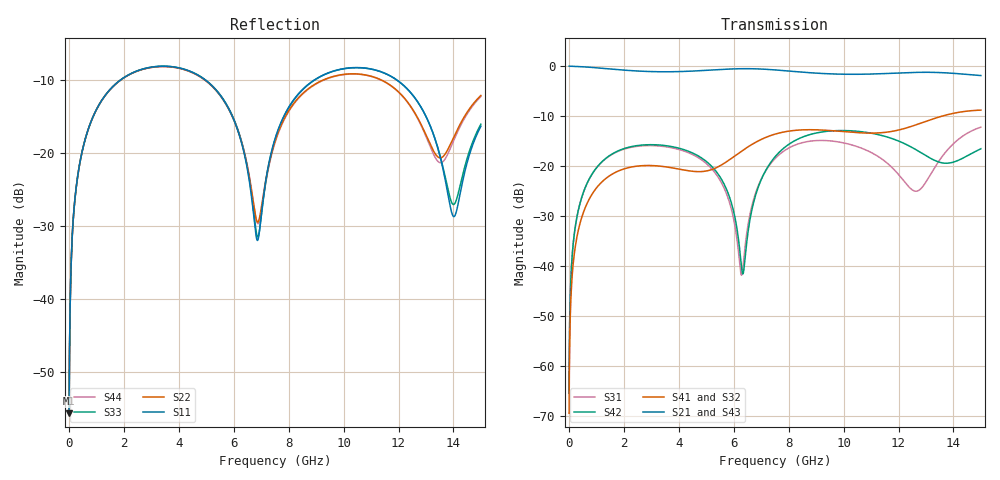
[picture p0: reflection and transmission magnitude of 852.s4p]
! Created with skrf 1.8.0 (http://scikit-rf.org).
# GHz S RI R 50.0
!freq ReS11 ImS11 ReS12 ImS12 ReS13 ImS13
! ReS14 ImS14
! ReS21 ImS21 ReS22 ImS22 ReS23 ImS23
! ReS24 ImS24
! ReS31 ImS31 ReS32 ImS32 ReS33 ImS33
! ReS34 ImS34
! ReS41 ImS41 ReS42 ImS42 ReS43 ImS43
! ReS44 ImS44
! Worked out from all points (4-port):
!   2499 points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, 5 MHz to 15 GHz, reference 50 ohm
!   strongest paths, dB at 5 MHz, 3.476 GHz, 7.19 GHz, 11.1 GHz, 15 GHz:
!     S21: 0.0, -1.1, -0.6, -1.6, -1.9
!     S43: 0.0, -1.1, -0.6, -1.6, -1.9
!     S41: -69.4, -20.1, -14.2, -13.4, -8.8
!     S32: -69.4, -20.1, -14.2, -13.4, -8.8
!     S42: -65.3, -15.9, -20.6, -13.5, -16.5
!     S31: -65.3, -16.1, -20.7, -17.5, -12.2
!   lowest |S11| = -55.7 dB at 5 MHz (marker M1), VSWR 1.00, Z = 50.1 + j0.0993 ohm
!   |S11| at or under -10 dB: start of sweep to 1.883 GHz; 4.956 GHz to 8.941 GHz (3.985 GHz wide, 57.4 % of centre); 11.93 GHz to end of sweep
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0.005  0.00131 0.00099  0.9987 -0.00255  6.53e-05 0.000538  -6.34e-05 -0.000333
       0.9987 -0.00255  0.00131 0.00099  -6.34e-05 -0.000333  6.54e-05 0.000538
       6.53e-05 0.000538  -6.34e-05 -0.000333  0.00131 0.00099  0.9987 -0.00255
       -6.34e-05 -0.000333  6.54e-05 0.000538  0.9987 -0.00255  0.00131 0.00099
0.4126719  0.0251 0.0851  0.9654 -0.2078  0.0121 0.0419  -0.0102 -0.0256
           0.9654 -0.2078  0.025 0.0851  -0.0102 -0.0256  0.0125 0.0418
           0.0121 0.0419  -0.0102 -0.0256  0.0251 0.0851  0.9654 -0.2078
           -0.0102 -0.0256  0.0125 0.0418  0.9654 -0.2078  0.025 0.0851
1.925802  0.2658 0.179  0.5583 -0.7253  0.1284 0.0689  -0.0921 -0.0075
          0.5583 -0.7253  0.264 0.1802  -0.0921 -0.00749  0.1336 0.062
          0.1284 0.0689  -0.0921 -0.00749  0.2659 0.179  0.5582 -0.7253
          -0.0921 -0.0075  0.1336 0.062  0.5582 -0.7253  0.2641 0.1802
6.277616  0.0524 -0.1061  -0.882 -0.331  -0.00774 -0.00258  -0.0452 0.1334
          -0.882 -0.331  0.0608 -0.1026  -0.045 0.1335  -0.00815 -0.00608
          -0.00774 -0.00258  -0.045 0.1335  0.0541 -0.1077  -0.8816 -0.3312
          -0.0452 0.1334  -0.00815 -0.00608  -0.8816 -0.3312  0.0607 -0.1048
6.846603  0.0249 -0.0045  -0.9355 -0.0744  -0.00385 0.0589  -0.00956 0.1759
          -0.9355 -0.0744  0.0333 -0.00603  -0.0093 0.1759  0.00923 0.056
          -0.00385 0.0589  -0.0093 0.1759  0.0262 -0.00672  -0.9355 -0.0747
          -0.00956 0.1759  0.00923 0.056  -0.9355 -0.0747  0.0324 -0.00836
10.94831  0.365 -0.0944  0.0969 0.8269  0.1382 -0.019  0.1964 -0.085
          0.0969 0.8269  0.3329 -0.0521  0.1965 -0.0855  0.1228 -0.1766
          0.1382 -0.019  0.1965 -0.0855  0.3643 -0.0946  0.0988 0.8269
          0.1964 -0.085  0.1228 -0.1766  0.0988 0.8269  0.3319 -0.0534
15  0.1099 0.1052  0.7438 -0.3073  0.2171 0.1145  -0.1804 -0.3154
    0.7438 -0.3073  0.2133 0.1247  -0.1812 -0.3129  0.0767 0.1281
    0.2171 0.1145  -0.1812 -0.3129  0.1201 0.1012  0.7419 -0.3118
    -0.1804 -0.3154  0.0767 0.1281  0.7419 -0.3118  0.2057 0.1295
